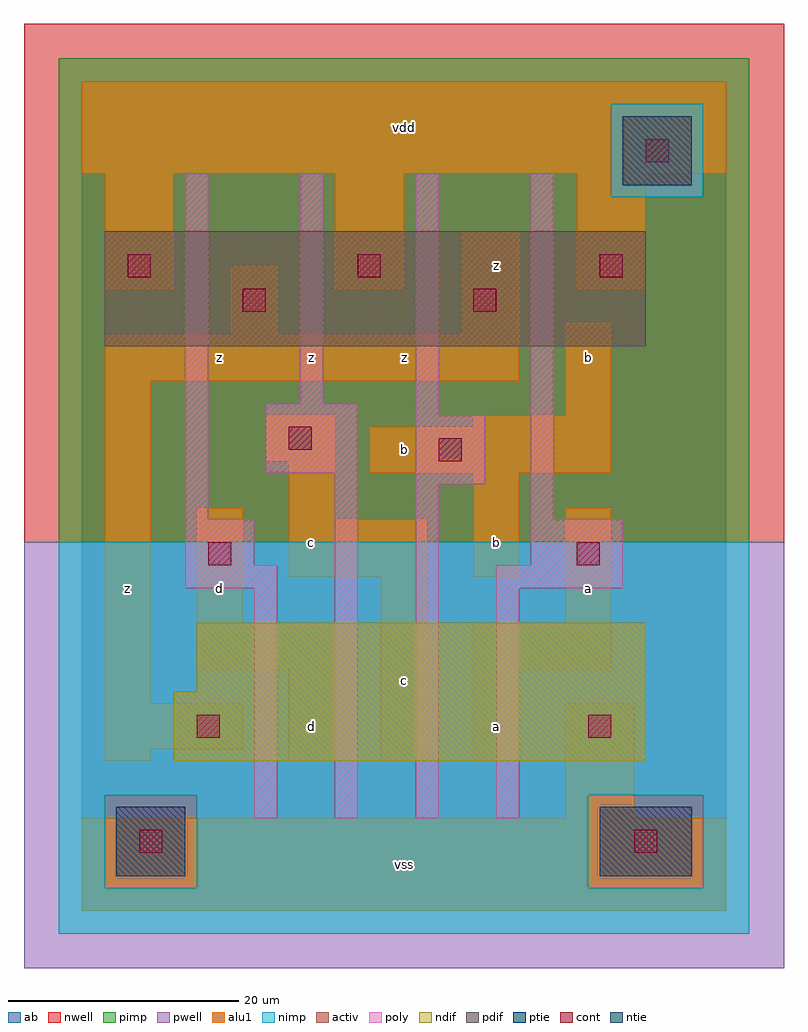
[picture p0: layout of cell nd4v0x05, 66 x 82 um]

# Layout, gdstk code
import gdstk
lib = gdstk.Library(unit=1e-6, precision=1e-09)
def R(c, l, rs):  # rectangles x0, y0, x1, y1
    for r in rs: c.add(gdstk.rectangle(r[:2], r[2:], *l))
ndif = (3, 0)
pdif = (4, 0)
ntie = (5, 0)
ptie = (6, 0)
cont = (25, 0)
pwell = (41, 0)
nwell = (42, 0)
activ = (43, 0)
pimp = (44, 0)
nimp = (45, 0)
poly = (46, 0)
alu1 = (49, 0)
ab = (63, 0)

nd4v0x05 = lib.new_cell('nd4v0x05')
R(nd4v0x05, ndif, [(8,13,49,19), (10,19,49,25)])
R(nd4v0x05, pdif, [(2,49,49,59)])
R(nd4v0x05, ntie, [(47,63,53,69)])
R(nd4v0x05, ptie, [(3,3,9,9), (45,3,53,9)])
R(nd4v0x05, cont, [(5,5,7,7), (48,5,50,7), (10,15,12,17), (44,15,46,17), (11,30,13,32), (43,30,45,32), (31,39,33,41), (18,40,20,42), (14,52,16,54), (34,52,36,54), (4,55,6,57), (24,55,26,57), (45,55,47,57), (49,65,51,67)])
R(nd4v0x05, pwell, [(-5,-5,61,32)])
R(nd4v0x05, nwell, [(-5,32,61,77)])
R(nd4v0x05, activ, [(3,3,9,9), (45,3,53,9), (8,13,49,19), (10,19,49,25), (2,49,49,59), (47,63,53,69)])
R(nd4v0x05, pimp, [(2,2,10,10), (44,2,54,10), (-2,32,58,62), (-2,62,46,70), (54,62,58,70), (-2,70,58,74)])
R(nd4v0x05, nimp, [(-2,-2,58,2), (-2,2,2,10), (10,2,44,10), (54,2,58,10), (-2,10,58,32), (46,62,54,70)])
R(nd4v0x05, poly, [(15,8,17,28), (22,8,24,38), (29,8,31,37), (36,8,38,28), (9,28,17,30), (36,28,47,30), (9,30,15,34), (39,30,47,34), (9,34,11,64), (39,34,41,64), (29,37,35,43), (16,38,24,44), (29,43,31,64), (19,44,21,64)])
R(nd4v0x05, alu1, [(0,0,56,8), (42,8,48,18), (2,13,6,14), (18,13,22,21), (26,13,30,29), (34,13,38,21), (2,14,14,18), (2,18,6,46), (10,21,22,25), (34,21,46,25), (10,25,14,35), (42,25,46,35), (18,29,30,34), (34,29,38,38), (18,34,22,39), (25,38,46,42), (16,39,22,43), (34,42,46,43), (42,43,46,51), (2,46,38,50), (13,50,17,56), (33,50,38,59), (2,54,8,64), (22,54,28,64), (43,54,49,64), (0,64,56,72)])
R(nd4v0x05, ab, [(0,0,56,72)])
nd4v0x05.add(gdstk.Label('z', (4,28), layer=49, texttype=0))
nd4v0x05.add(gdstk.Label('d', (20,16), layer=49, texttype=0))
nd4v0x05.add(gdstk.Label('d', (12,28), layer=49, texttype=0))
nd4v0x05.add(gdstk.Label('c', (20,32), layer=49, texttype=0))
nd4v0x05.add(gdstk.Label('z', (12,48), layer=49, texttype=0))
nd4v0x05.add(gdstk.Label('z', (20,48), layer=49, texttype=0))
nd4v0x05.add(gdstk.Label('vss', (28,4), layer=49, texttype=0))
nd4v0x05.add(gdstk.Label('a', (36,16), layer=49, texttype=0))
nd4v0x05.add(gdstk.Label('c', (28,20), layer=49, texttype=0))
nd4v0x05.add(gdstk.Label('b', (36,32), layer=49, texttype=0))
nd4v0x05.add(gdstk.Label('b', (28,40), layer=49, texttype=0))
nd4v0x05.add(gdstk.Label('z', (28,48), layer=49, texttype=0))
nd4v0x05.add(gdstk.Label('z', (36,56), layer=49, texttype=0))
nd4v0x05.add(gdstk.Label('vdd', (28,68), layer=49, texttype=0))
nd4v0x05.add(gdstk.Label('a', (44,28), layer=49, texttype=0))
nd4v0x05.add(gdstk.Label('b', (44,48), layer=49, texttype=0))

lib.write_gds('nd4v0x05.gds')
